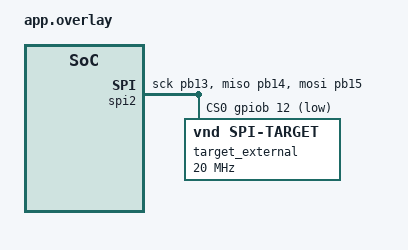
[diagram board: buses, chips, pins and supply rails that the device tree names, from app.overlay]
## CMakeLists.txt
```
# Copyright (c) 2026 John Crispin <john@phrozen.org>
#
# SPDX-License-Identifier: Apache-2.0

cmake_minimum_required(VERSION 3.20.0)

list(APPEND BOARD_ROOT ${CMAKE_CURRENT_SOURCE_DIR}/..)
list(APPEND DTS_ROOT ${CMAKE_CURRENT_SOURCE_DIR})

find_package(Zephyr REQUIRED HINTS $ENV{ZEPHYR_BASE})
project(spi_flasher)

target_sources(app PRIVATE
	src/main.c
	src/usbd.c
	src/usb_bulk.c
	src/spi_bus.c
	src/proto.c
)
```

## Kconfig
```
# Copyright (c) 2026 John Crispin <john@phrozen.org>
#
# SPDX-License-Identifier: Apache-2.0

mainmenu "SPI flasher probe"

config SPI_FLASHER_PIN_TEST
	bool "PIN_TEST opcode, reads the SPI pins as biased GPIO inputs"
	default y
	select PINCTRL_NON_STATIC
	help
	  Needed to re-apply the SPI pin configuration after probing the pins,
	  which requires the pinctrl config to be externally visible.

config SPI_FLASHER_USB_OUT_DEPTH
	int "Request buffers, which bounds how far ahead the host may queue"
	default 4

config SPI_FLASHER_USB_IN_DEPTH
	int "Reply buffers, which bounds how many replies may be in flight"
	default 4

config SPI_FLASHER_XFER_MAX
	int "Largest SPI payload accepted in one direction of one CS frame"
	default 4608

config SPI_FLASHER_USB_VID
	hex "USB vendor ID"
	default 0x2fe3

config SPI_FLASHER_USB_PID
	hex "USB product ID"
	default 0x0001

config SPI_FLASHER_USB_MANUFACTURER
	string "USB manufacturer string"
	default "spi-flasher"

config SPI_FLASHER_USB_PRODUCT
	string "USB product string"
	default "SPI flasher probe"

config SPI_FLASHER_USB_MAX_POWER
	int "USB bMaxPower in 2 mA units"
	default 125

source "Kconfig.zephyr"
```

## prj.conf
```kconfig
# Copyright (c) 2026 John Crispin <john@phrozen.org>
#
# SPDX-License-Identifier: Apache-2.0

CONFIG_USB_DEVICE_STACK_NEXT=y
CONFIG_HWINFO=y


CONFIG_SPI=y
CONFIG_SPI_STM32_DMA=y
CONFIG_GPIO=y
CONFIG_REBOOT=y

CONFIG_LOG=y
CONFIG_USBD_LOG_LEVEL_ERR=y
CONFIG_UDC_DRIVER_LOG_LEVEL_ERR=y

CONFIG_MAIN_STACK_SIZE=4096
```

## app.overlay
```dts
/*
 * Copyright (c) 2026 John Crispin <john@phrozen.org>
 *
 * SPDX-License-Identifier: Apache-2.0
 */

#include <zephyr/dt-bindings/gpio/gpio.h>
#include <zephyr/dt-bindings/dma/stm32_dma.h>

&dma1 {
	status = "okay";
};

&dmamux1 {
	status = "okay";
};

&spi2 {
	status = "okay";
	pinctrl-0 = <&spi2_sck_pb13 &spi2_miso_pb14 &spi2_mosi_pb15>;
	pinctrl-names = "default";
	cs-gpios = <&gpiob 12 GPIO_ACTIVE_LOW>;
	dmas = <&dmamux1 0 13 (STM32_DMA_PERIPH_TX | STM32_DMA_PRIORITY_HIGH)>,
	       <&dmamux1 1 12 (STM32_DMA_PERIPH_RX | STM32_DMA_PRIORITY_HIGH)>;
	dma-names = "tx", "rx";

	target_external: spi-target@0 {
		compatible = "vnd,spi-target";
		reg = <0>;
		spi-max-frequency = <DT_FREQ_M(20)>;
	};
};
```

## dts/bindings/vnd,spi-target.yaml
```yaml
# Copyright (c) 2026 John Crispin <john@phrozen.org>
#
# SPDX-License-Identifier: Apache-2.0

description: |
  Flash chip target driven by the serprog firmware. The firmware only needs the
  bus, the chip select and the default clock rate from this node; all chip
  knowledge stays on the host.

compatible: "vnd,spi-target"

include: spi-device.yaml
```

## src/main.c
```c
/*
 * Copyright (c) 2026 John Crispin <john@phrozen.org>
 *
 * SPDX-License-Identifier: Apache-2.0
 */

#include <zephyr/device.h>
#include <zephyr/drivers/gpio.h>
#include <zephyr/kernel.h>
#include <zephyr/logging/log.h>
#include <zephyr/usb/usbd.h>

#include "proto.h"
#include "spi_bus.h"
#include "usbd.h"

LOG_MODULE_REGISTER(main, CONFIG_LOG_DEFAULT_LEVEL);

#define STATUS_BLINK_PERIOD K_MSEC(250)

static const struct gpio_dt_spec status_led = GPIO_DT_SPEC_GET_OR(DT_ALIAS(led0), gpios, {0});

static bool usb_configured;

static void status_tick(struct k_timer *timer)
{
	ARG_UNUSED(timer);

	if (status_led.port == NULL) {
		return;
	}

	if (usb_configured) {
		gpio_pin_set_dt(&status_led, 1);
		return;
	}

	gpio_pin_toggle_dt(&status_led);
}

static K_TIMER_DEFINE(status_timer, status_tick, NULL);

static void status_init(void)
{
	if (status_led.port == NULL) {
		return;
	}

	if (!gpio_is_ready_dt(&status_led)) {
		LOG_WRN("Status LED not ready");
		return;
	}

	gpio_pin_configure_dt(&status_led, GPIO_OUTPUT_INACTIVE);
	k_timer_start(&status_timer, STATUS_BLINK_PERIOD, STATUS_BLINK_PERIOD);
}

static void usb_message(struct usbd_context *ctx, const struct usbd_msg *msg)
{
	ARG_UNUSED(ctx);

	switch (msg->type) {
	case USBD_MSG_CONFIGURATION:
		usb_configured = true;
		break;
	case USBD_MSG_RESET:
	case USBD_MSG_SUSPEND:
	case USBD_MSG_VBUS_REMOVED:
		usb_configured = false;
		break;
	default:
		break;
	}
}

int main(void)
{
	int err;

	status_init();

	err = spi_bus_init();
	if (err) {
		LOG_ERR("SPI bus init failed (%d)", err);
		return err;
	}

	err = usb_device_start(usb_message);
	if (err) {
		return err;
	}

	LOG_INF("bulk probe ready, default SPI clock %u Hz", spi_bus_freq_get());

	proto_run();

	return 0;
}
```

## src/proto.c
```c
/*
 * Copyright (c) 2026 John Crispin <john@phrozen.org>
 *
 * SPDX-License-Identifier: Apache-2.0
 */

#include "proto.h"

#include <string.h>

#include <soc.h>

#include <zephyr/drivers/gpio.h>
#include <zephyr/drivers/pinctrl.h>
#include <zephyr/kernel.h>
#include <zephyr/logging/log.h>
#include <zephyr/net_buf.h>
#include <zephyr/sys/byteorder.h>
#include <zephyr/sys/reboot.h>

#include "spi_bus.h"
#include "usb_bulk.h"

LOG_MODULE_REGISTER(proto, CONFIG_LOG_DEFAULT_LEVEL);

#define PROTO_PING_RSP_LEN 16

#define PROTO_SPI_NODE DT_NODELABEL(spi2)

PINCTRL_DT_DEV_CONFIG_DECLARE(PROTO_SPI_NODE);

static const struct device *const proto_gpiob = DEVICE_DT_GET(DT_NODELABEL(gpiob));
static const uint8_t proto_test_pins[] = { 12, 13, 14, 15 };
#define PROTO_PIN_TEST_RSP_LEN (2 * ARRAY_SIZE(proto_test_pins))
#define PROTO_SPI_REGS_RSP_LEN 32

static void proto_spi_pins_restore(void);

static uint8_t proto_tx_buf[CONFIG_SPI_FLASHER_XFER_MAX];
static uint8_t proto_rx_buf[CONFIG_SPI_FLASHER_XFER_MAX];
static int32_t proto_last_spi_err;

static void proto_parse(const uint8_t *raw, struct proto_request *req)
{
	req->opcode = raw[0];
	req->flags = raw[1];
	req->tag = sys_get_le16(&raw[2]);
	req->tx_len = sys_get_le32(&raw[4]);
	req->rx_len = sys_get_le32(&raw[8]);
}

static struct net_buf *proto_reply(const struct proto_request *req, uint8_t status,
				   uint32_t rx_len)
{
	struct net_buf *buf;
	uint8_t *hdr;

	buf = usb_bulk_tx_alloc(PROTO_RSP_HDR_LEN + rx_len, K_FOREVER);
	if (buf == NULL) {
		return NULL;
	}

	hdr = net_buf_add(buf, PROTO_RSP_HDR_LEN);
	hdr[0] = status;
	hdr[1] = req->opcode;
	sys_put_le16(req->tag, &hdr[2]);
	sys_put_le32(rx_len, &hdr[4]);

	return buf;
}

static void proto_fail(const struct proto_request *req, uint8_t status)
{
	struct net_buf *buf = proto_reply(req, status, 0);

	if (buf != NULL) {
		usb_bulk_tx_submit(buf);
	}
}

static void proto_handle_ping(const struct proto_request *req)
{
	struct net_buf *buf = proto_reply(req, PROTO_STATUS_OK, PROTO_PING_RSP_LEN);
	uint8_t *out;

	if (buf == NULL) {
		return;
	}

	out = net_buf_add(buf, PROTO_PING_RSP_LEN);
	sys_put_le16(PROTO_VERSION, &out[0]);
	sys_put_le32(CONFIG_SPI_FLASHER_XFER_MAX, &out[2]);
	sys_put_le32(spi_bus_freq_get(), &out[6]);
	sys_put_le32((uint32_t)proto_last_spi_err, &out[10]);
	out[14] = CONFIG_SPI_FLASHER_USB_IN_DEPTH;
	out[15] = CONFIG_SPI_FLASHER_USB_OUT_DEPTH;

	usb_bulk_tx_submit(buf);
}

static void proto_handle_test_in(const struct proto_request *req)
{
	struct net_buf *buf = proto_reply(req, PROTO_STATUS_OK, req->rx_len);
	uint8_t *out;

	if (buf == NULL) {
		return;
	}

	out = net_buf_add(buf, req->rx_len);
	for (uint32_t i = 0; i < req->rx_len; i++) {
		out[i] = (uint8_t)i;
	}

	usb_bulk_tx_submit(buf);
}

static void proto_handle_spi_xfer(const struct proto_request *req, const uint8_t *tx)
{
	struct net_buf *buf;
	uint8_t *out;
	int err;

	memcpy(proto_tx_buf, tx, req->tx_len);

	err = spi_bus_xfer(proto_tx_buf, req->tx_len, proto_rx_buf, req->rx_len);
	proto_last_spi_err = err;

	buf = proto_reply(req, err ? PROTO_STATUS_SPI_ERROR : PROTO_STATUS_OK,
			  err ? 0 : req->rx_len);
	if (buf == NULL) {
		return;
	}

	if (!err) {
		out = net_buf_add(buf, req->rx_len);
		memcpy(out, proto_rx_buf, req->rx_len);
	}

	usb_bulk_tx_submit(buf);
}

static void proto_handle_set_freq(const struct proto_request *req, const uint8_t *tx)
{
	struct net_buf *buf;
	uint32_t actual;

	if (req->tx_len != sizeof(uint32_t)) {
		proto_fail(req, PROTO_STATUS_BAD_LENGTH);
		return;
	}

	actual = spi_bus_freq_set(sys_get_le32(tx));
	if (actual == 0) {
		proto_fail(req, PROTO_STATUS_BAD_LENGTH);
		return;
	}

	buf = proto_reply(req, PROTO_STATUS_OK, sizeof(uint32_t));
	if (buf == NULL) {
		return;
	}

	sys_put_le32(actual, net_buf_add(buf, sizeof(uint32_t)));
	usb_bulk_tx_submit(buf);
}

/* Read each SPI pin as a plain input, once biased high and once biased low.
 * A line nothing is driving follows the bias and reads 1 then 0. A line held
 * by something else reads the same value both ways.
 */
static void proto_handle_pin_test(const struct proto_request *req)
{
	struct net_buf *buf = proto_reply(req, PROTO_STATUS_OK, PROTO_PIN_TEST_RSP_LEN);
	uint8_t *out;

	if (buf == NULL) {
		return;
	}

	out = net_buf_add(buf, PROTO_PIN_TEST_RSP_LEN);

	for (size_t i = 0; i < ARRAY_SIZE(proto_test_pins); i++) {
		uint8_t pin = proto_test_pins[i];

		gpio_pin_configure(proto_gpiob, pin, GPIO_INPUT | GPIO_PULL_UP);
		k_busy_wait(50);
		out[2 * i] = gpio_pin_get_raw(proto_gpiob, pin);

		gpio_pin_configure(proto_gpiob, pin, GPIO_INPUT | GPIO_PULL_DOWN);
		k_busy_wait(50);
		out[2 * i + 1] = gpio_pin_get_raw(proto_gpiob, pin);
	}

	proto_spi_pins_restore();

	usb_bulk_tx_submit(buf);
}

/* Raw peripheral state, so a wedged bus can be observed rather than inferred.
 * On this IP the overrun flag latches: once set the data register stops
 * updating and every read returns stale data until it is cleared.
 */
#define QPI_PIN_CS   12
#define QPI_PIN_SCK  13
#define QPI_PIN_IO1  14
#define QPI_PIN_IO0  15
#define QPI_ESCAPE_CLOCKS 8

/* Chip select is active low. The GPIO driver keeps that inversion per pin at
 * configure time, so restoring the pin without the flag would leave the SPI
 * driver driving chip select the wrong way round and the chip never selected.
 */
static void proto_spi_pins_restore(void)
{
	pinctrl_apply_state(PINCTRL_DT_DEV_CONFIG_GET(PROTO_SPI_NODE), PINCTRL_STATE_DEFAULT);
	gpio_pin_configure(proto_gpiob, 12, GPIO_OUTPUT_INACTIVE | GPIO_ACTIVE_LOW);
}

/* Mode 0 transfer driven entirely from GPIO, bypassing the SPI peripheral,
 * its DMA and the driver's chip select handling. Used to decide whether a
 * silent bus is the chip or everything between here and it.
 */
static void proto_handle_bitbang(const struct proto_request *req, const uint8_t *tx)
{
	struct net_buf *buf;
	uint8_t *out;

	if (req->tx_len > sizeof(proto_tx_buf) || req->rx_len > sizeof(proto_rx_buf)) {
		proto_fail(req, PROTO_STATUS_BAD_LENGTH);
		return;
	}

	memcpy(proto_tx_buf, tx, req->tx_len);

	gpio_pin_configure(proto_gpiob, QPI_PIN_CS, GPIO_OUTPUT_HIGH);
	gpio_pin_configure(proto_gpiob, QPI_PIN_SCK, GPIO_OUTPUT_LOW);
	gpio_pin_configure(proto_gpiob, QPI_PIN_IO0, GPIO_OUTPUT_LOW);
	gpio_pin_configure(proto_gpiob, QPI_PIN_IO1, GPIO_INPUT);
	k_busy_wait(10);

	gpio_pin_set_raw(proto_gpiob, QPI_PIN_CS, 0);
	k_busy_wait(5);

	for (uint32_t i = 0; i < req->tx_len + req->rx_len; i++) {
		uint8_t value = i < req->tx_len ? proto_tx_buf[i] : 0x00;
		uint8_t got = 0;

		for (int bit = 7; bit >= 0; bit--) {
			gpio_pin_set_raw(proto_gpiob, QPI_PIN_IO0, (value >> bit) & 1);
			k_busy_wait(2);
			gpio_pin_set_raw(proto_gpiob, QPI_PIN_SCK, 1);
			k_busy_wait(2);
			got = (got << 1) | gpio_pin_get_raw(proto_gpiob, QPI_PIN_IO1);
			gpio_pin_set_raw(proto_gpiob, QPI_PIN_SCK, 0);
			k_busy_wait(2);
		}

		if (i >= req->tx_len) {
			proto_rx_buf[i - req->tx_len] = got;
		}
	}

	gpio_pin_set_raw(proto_gpiob, QPI_PIN_CS, 1);
	k_busy_wait(10);
	proto_spi_pins_restore();

	buf = proto_reply(req, PROTO_STATUS_OK, req->rx_len);
	if (buf == NULL) {
		return;
	}

	out = net_buf_add(buf, req->rx_len);
	memcpy(out, proto_rx_buf, req->rx_len);
	usb_bulk_tx_submit(buf);
}

static void proto_handle_spi_regs(const struct proto_request *req)
{
	SPI_TypeDef *spi = (SPI_TypeDef *)DT_REG_ADDR(PROTO_SPI_NODE);
	struct net_buf *buf = proto_reply(req, PROTO_STATUS_OK, PROTO_SPI_REGS_RSP_LEN);
	uint8_t *out;

	if (buf == NULL) {
		return;
	}

	GPIO_TypeDef *gpiob = (GPIO_TypeDef *)DT_REG_ADDR(DT_NODELABEL(gpiob));

	out = net_buf_add(buf, PROTO_SPI_REGS_RSP_LEN);
	sys_put_le32(spi->CR1, &out[0]);
	sys_put_le32(spi->CR2, &out[4]);
	sys_put_le32(spi->SR, &out[8]);
	sys_put_le32(gpiob->MODER, &out[12]);
	sys_put_le32(gpiob->AFR[1], &out[16]);
	sys_put_le32(gpiob->PUPDR, &out[20]);
	sys_put_le32(gpiob->ODR, &out[24]);
	sys_put_le32(gpiob->IDR, &out[28]);

	usb_bulk_tx_submit(buf);
}

/* Warm reset, so boot behaviour can be exercised without touching the board. */
static void proto_handle_reboot(const struct proto_request *req)
{
	struct net_buf *buf = proto_reply(req, PROTO_STATUS_OK, 0);

	if (buf != NULL) {
		usb_bulk_tx_submit(buf);
	}

	k_sleep(K_MSEC(50));
	sys_reboot(SYS_REBOOT_WARM);
}

/* One chip-select frame, optionally preceded by a write enable, then poll a
 * status register until the chip reports ready. Collapses what would be four
 * or more USB round trips per page into one.
 *
 * Payload: flags, poll_len, poll_mask, poll_value, timeout_ms (16),
 * frame_len (16), then poll_len bytes of poll command, then the frame.
 */
static void proto_handle_xfer_poll(const struct proto_request *req, const uint8_t *tx)
{
	static const uint8_t write_enable = 0x06;
	const uint8_t *poll_cmd, *frame;
	uint8_t flags, poll_len, poll_mask, poll_value, status = 0;
	uint16_t timeout_ms, frame_len;
	struct net_buf *buf;
	int64_t deadline;
	bool ready = false;

	if (req->tx_len < PROTO_XFER_POLL_HDR_LEN) {
		proto_fail(req, PROTO_STATUS_SHORT_REQ);
		return;
	}

	flags = tx[0];
	poll_len = tx[1];
	poll_mask = tx[2];
	poll_value = tx[3];
	timeout_ms = sys_get_le16(&tx[4]);
	frame_len = sys_get_le16(&tx[6]);

	if (req->tx_len != PROTO_XFER_POLL_HDR_LEN + poll_len + frame_len || poll_len == 0) {
		proto_fail(req, PROTO_STATUS_BAD_LENGTH);
		return;
	}

	poll_cmd = &tx[PROTO_XFER_POLL_HDR_LEN];
	frame = poll_cmd + poll_len;

	memcpy(proto_tx_buf, frame, frame_len);

	if (flags & PROTO_FLAG_WRITE_ENABLE) {
		if (spi_bus_xfer(&write_enable, 1, NULL, 0) < 0) {
			proto_fail(req, PROTO_STATUS_SPI_ERROR);
			return;
		}
	}

	if (spi_bus_xfer(proto_tx_buf, frame_len, NULL, 0) < 0) {
		proto_fail(req, PROTO_STATUS_SPI_ERROR);
		return;
	}

	deadline = k_uptime_get() + timeout_ms;
	do {
		if (spi_bus_xfer(poll_cmd, poll_len, &status, 1) < 0) {
			proto_fail(req, PROTO_STATUS_SPI_ERROR);
			return;
		}
		if ((status & poll_mask) == poll_value) {
			ready = true;
			break;
		}
	} while (k_uptime_get() < deadline);

	buf = proto_reply(req, ready ? PROTO_STATUS_OK : PROTO_STATUS_TIMEOUT, 1);
	if (buf == NULL) {
		return;
	}

	*(uint8_t *)net_buf_add(buf, 1) = status;
	usb_bulk_tx_submit(buf);
}

/* Clock 0xFF on all four QPI data lines to leave QPI mode.
 *
 * A chip in QPI ignores single line commands, so the normal reset sequences
 * cannot reach it and only a power cycle clears it. This wiring brings out
 * IO0 and IO1 only; IO2 and IO3 are left to the pull ups on the breakout. It
 * therefore works only if those really are pulled high, which is why the
 * result is verified by the caller rather than assumed here.
 */

static void proto_handle_qpi_escape(const struct proto_request *req)
{
	struct net_buf *buf;

	gpio_pin_configure(proto_gpiob, QPI_PIN_CS, GPIO_OUTPUT_HIGH);
	gpio_pin_configure(proto_gpiob, QPI_PIN_SCK, GPIO_OUTPUT_LOW);
	gpio_pin_configure(proto_gpiob, QPI_PIN_IO0, GPIO_OUTPUT_HIGH);
	gpio_pin_configure(proto_gpiob, QPI_PIN_IO1, GPIO_OUTPUT_HIGH);
	k_busy_wait(10);

	gpio_pin_set_raw(proto_gpiob, QPI_PIN_CS, 0);
	k_busy_wait(2);

	for (int i = 0; i < QPI_ESCAPE_CLOCKS; i++) {
		gpio_pin_set_raw(proto_gpiob, QPI_PIN_SCK, 1);
		k_busy_wait(2);
		gpio_pin_set_raw(proto_gpiob, QPI_PIN_SCK, 0);
		k_busy_wait(2);
	}

	gpio_pin_set_raw(proto_gpiob, QPI_PIN_CS, 1);
	k_busy_wait(10);

	gpio_pin_configure(proto_gpiob, QPI_PIN_IO1, GPIO_INPUT);
	proto_spi_pins_restore();

	buf = proto_reply(req, PROTO_STATUS_OK, 0);
	if (buf != NULL) {
		usb_bulk_tx_submit(buf);
	}
}

static void proto_dispatch(struct net_buf *raw)
{
	struct proto_request req;
	const uint8_t *tx;

	if (raw->len < PROTO_REQ_HDR_LEN) {
		LOG_ERR("Runt request of %u bytes", raw->len);
		return;
	}

	proto_parse(raw->data, &req);
	tx = raw->data + PROTO_REQ_HDR_LEN;

	if (req.tx_len > CONFIG_SPI_FLASHER_XFER_MAX ||
	    req.rx_len > CONFIG_SPI_FLASHER_XFER_MAX) {
		proto_fail(&req, PROTO_STATUS_BAD_LENGTH);
		return;
	}

	if (raw->len != PROTO_REQ_HDR_LEN + req.tx_len) {
		proto_fail(&req, PROTO_STATUS_SHORT_REQ);
		return;
	}

	switch (req.opcode) {
	case PROTO_OP_PING:
		proto_handle_ping(&req);
		return;
	case PROTO_OP_SPI_XFER:
		proto_handle_spi_xfer(&req, tx);
		return;
	case PROTO_OP_TEST_IN:
		proto_handle_test_in(&req);
		return;
	case PROTO_OP_SET_FREQ:
		proto_handle_set_freq(&req, tx);
		return;
	case PROTO_OP_PIN_TEST:
		proto_handle_pin_test(&req);
		return;
	case PROTO_OP_SPI_REGS:
		proto_handle_spi_regs(&req);
		return;
	case PROTO_OP_REBOOT:
		proto_handle_reboot(&req);
		return;
	case PROTO_OP_XFER_POLL:
		proto_handle_xfer_poll(&req, tx);
		return;
	case PROTO_OP_QPI_ESCAPE:
		proto_handle_qpi_escape(&req);
		return;
	case PROTO_OP_BITBANG:
		proto_handle_bitbang(&req, tx);
		return;
	default:
		proto_fail(&req, PROTO_STATUS_BAD_OPCODE);
		return;
	}
}

void proto_run(void)
{
	while (true) {
		struct net_buf *raw = usb_bulk_rx_get(K_FOREVER);

		proto_dispatch(raw);
		usb_bulk_rx_put(raw);
	}
}
```

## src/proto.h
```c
/*
 * Copyright (c) 2026 John Crispin <john@phrozen.org>
 *
 * SPDX-License-Identifier: Apache-2.0
 */

#ifndef SPI_FLASHER_PROTO_H
#define SPI_FLASHER_PROTO_H

#include <stdint.h>

#include <zephyr/sys/util.h>

#define PROTO_VERSION 1

#define PROTO_REQ_HDR_LEN 12
#define PROTO_RSP_HDR_LEN 8

#define PROTO_OP_PING     0x00
#define PROTO_OP_SPI_XFER 0x01
#define PROTO_OP_TEST_IN  0x02
#define PROTO_OP_SET_FREQ 0x03
#define PROTO_OP_PIN_TEST 0x04
#define PROTO_OP_SPI_REGS 0x05
#define PROTO_OP_REBOOT   0x06
#define PROTO_OP_XFER_POLL 0x07
#define PROTO_OP_QPI_ESCAPE 0x08
#define PROTO_OP_BITBANG    0x09

#define PROTO_XFER_POLL_HDR_LEN 8
#define PROTO_FLAG_WRITE_ENABLE BIT(0)

#define PROTO_STATUS_OK          0x00
#define PROTO_STATUS_BAD_OPCODE  0x01
#define PROTO_STATUS_BAD_LENGTH  0x02
#define PROTO_STATUS_SHORT_REQ   0x03
#define PROTO_STATUS_SPI_ERROR   0x04
#define PROTO_STATUS_NO_RESOURCE 0x05
#define PROTO_STATUS_TIMEOUT     0x06

struct proto_request {
	uint8_t opcode;
	uint8_t flags;
	uint16_t tag;
	uint32_t tx_len;
	uint32_t rx_len;
};

void proto_run(void);

#endif
```

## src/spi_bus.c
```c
/*
 * Copyright (c) 2026 John Crispin <john@phrozen.org>
 *
 * SPDX-License-Identifier: Apache-2.0
 */

#include "spi_bus.h"

#include <zephyr/device.h>
#include <zephyr/drivers/clock_control.h>
#include <zephyr/drivers/clock_control/stm32_clock_control.h>
#include <zephyr/drivers/spi.h>
#include <zephyr/kernel.h>
#include <zephyr/logging/log.h>

LOG_MODULE_REGISTER(spi_bus, CONFIG_LOG_DEFAULT_LEVEL);

#define SPI_BUS_OPERATION (SPI_WORD_SET(8) | SPI_TRANSFER_MSB | SPI_OP_MODE_MASTER)

#define SPI_BUS_TARGET_EXTERNAL DT_NODELABEL(target_external)

#define SPI_BUS_PRESCALER_MIN_SHIFT 1
#define SPI_BUS_PRESCALER_MAX_SHIFT 8

struct spi_bus {
	const struct device *dev;
	struct spi_config config[2];
	uint8_t config_index;
	uint32_t frequency;
	spi_operation_t operation;
	uint32_t (*freq_round)(uint32_t requested);
};

static uint32_t spi_bus_external_freq_round(uint32_t requested);

#define SPI_BUS_DEFINE(node, round_fn)				\
	{							\
		.dev = DEVICE_DT_GET(DT_BUS(node)),		\
		.config = {					\
			SPI_CONFIG_DT(node, SPI_BUS_OPERATION),	\
			SPI_CONFIG_DT(node, SPI_BUS_OPERATION),	\
		},						\
		.freq_round = round_fn,				\
	}

static struct spi_bus spi_buses[SPI_BUS_COUNT] = {
	[SPI_BUS_EXTERNAL] = SPI_BUS_DEFINE(SPI_BUS_TARGET_EXTERNAL,
					    spi_bus_external_freq_round),
};

static struct spi_bus *spi_bus_active = &spi_buses[SPI_BUS_EXTERNAL];

static uint32_t spi_bus_external_freq_round(uint32_t requested)
{
	static const struct stm32_pclken pclken[] =
		STM32_DT_CLOCKS(DT_BUS(SPI_BUS_TARGET_EXTERNAL));
	const size_t index = ARRAY_SIZE(pclken) > 1 ? 1 : 0;
	uint32_t clock;
	int shift;

	if (clock_control_get_rate(DEVICE_DT_GET(STM32_CLOCK_CONTROL_NODE),
				   (clock_control_subsys_t)&pclken[index], &clock) < 0) {
		return 0;
	}

	for (shift = SPI_BUS_PRESCALER_MIN_SHIFT; shift <= SPI_BUS_PRESCALER_MAX_SHIFT; shift++) {
		if ((clock >> shift) <= requested) {
			return clock >> shift;
		}
	}

	return 0;
}

static struct spi_config *spi_bus_config(struct spi_bus *bus)
{
	struct spi_config *config = &bus->config[bus->config_index];

	if (config->frequency == bus->frequency && config->operation == bus->operation) {
		return config;
	}

	bus->config_index ^= 1;
	config = &bus->config[bus->config_index];
	config->frequency = bus->frequency;
	config->operation = bus->operation;

	return config;
}

int spi_bus_init(void)
{
	for (size_t i = 0; i < ARRAY_SIZE(spi_buses); i++) {
		struct spi_bus *bus = &spi_buses[i];

		if (!device_is_ready(bus->dev)) {
			LOG_ERR("SPI bus %u (%s) not ready", (unsigned int)i, bus->dev->name);
			return -ENODEV;
		}

		bus->frequency = bus->freq_round(bus->config[0].frequency);
		if (bus->frequency == 0) {
			LOG_ERR("SPI bus %u cannot reach %u Hz", (unsigned int)i,
				bus->config[0].frequency);
			return -EINVAL;
		}

		bus->operation = bus->config[0].operation;
	}

	return 0;
}

int spi_bus_select(uint8_t index)
{
	if (index >= ARRAY_SIZE(spi_buses)) {
		return -EINVAL;
	}

	spi_bus_active = &spi_buses[index];

	return 0;
}

uint32_t spi_bus_freq_set(uint32_t requested)
{
	struct spi_bus *bus = spi_bus_active;
	uint32_t actual;

	if (requested == 0) {
		return 0;
	}

	actual = bus->freq_round(requested);
	if (actual == 0) {
		return 0;
	}

	bus->frequency = actual;

	return actual;
}

uint32_t spi_bus_freq_get(void)
{
	return spi_bus_active->frequency;
}

int spi_bus_xfer(const uint8_t *tx, size_t tx_len, uint8_t *rx, size_t rx_len)
{
	struct spi_bus *bus = spi_bus_active;
	struct spi_buf tx_buf[2];
	struct spi_buf rx_buf[2];
	struct spi_buf_set tx_set = { .buffers = tx_buf };
	struct spi_buf_set rx_set = { .buffers = rx_buf };

	if (tx_len == 0 && rx_len == 0) {
		return 0;
	}

	if (tx_len > 0) {
		tx_buf[tx_set.count] = (struct spi_buf){ .buf = (void *)tx, .len = tx_len };
		rx_buf[rx_set.count] = (struct spi_buf){ .buf = NULL, .len = tx_len };
		tx_set.count++;
		rx_set.count++;
	}

	if (rx_len > 0) {
		tx_buf[tx_set.count] = (struct spi_buf){ .buf = NULL, .len = rx_len };
		rx_buf[rx_set.count] = (struct spi_buf){ .buf = rx, .len = rx_len };
		tx_set.count++;
		rx_set.count++;
	}

	return spi_transceive(bus->dev, spi_bus_config(bus), &tx_set,
			      rx_len > 0 ? &rx_set : NULL);
}
```

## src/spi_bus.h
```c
/*
 * Copyright (c) 2026 John Crispin <john@phrozen.org>
 *
 * SPDX-License-Identifier: Apache-2.0
 */

#ifndef SPI_FLASHER_SPI_BUS_H
#define SPI_FLASHER_SPI_BUS_H

#include <stddef.h>
#include <stdint.h>

#define SPI_BUS_EXTERNAL 0
#define SPI_BUS_COUNT    1

int spi_bus_init(void);
int spi_bus_select(uint8_t index);
uint32_t spi_bus_freq_set(uint32_t requested);
uint32_t spi_bus_freq_get(void);
int spi_bus_xfer(const uint8_t *tx, size_t tx_len, uint8_t *rx, size_t rx_len);

#endif
```

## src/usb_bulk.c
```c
/*
 * Copyright (c) 2026 John Crispin <john@phrozen.org>
 *
 * SPDX-License-Identifier: Apache-2.0
 */

#include "usb_bulk.h"
#include "proto.h"

#include <zephyr/drivers/usb/udc.h>
#include <zephyr/drivers/usb/usb_buf.h>
#include <zephyr/logging/log.h>
#include <zephyr/sys/atomic.h>
#include <zephyr/usb/usbd.h>

LOG_MODULE_REGISTER(usb_bulk, CONFIG_LOG_DEFAULT_LEVEL);

#define USB_BULK_EP_OUT 0x01
#define USB_BULK_EP_IN  0x81

#define USB_BULK_MPS_FS 64
#define USB_BULK_MPS_HS 512

#define USB_BULK_OUT_LEN (PROTO_REQ_HDR_LEN + CONFIG_SPI_FLASHER_XFER_MAX)
#define USB_BULK_IN_LEN  (PROTO_RSP_HDR_LEN + CONFIG_SPI_FLASHER_XFER_MAX)

#define USB_BULK_STATE_ENABLED 0

struct usb_bulk_desc {
	struct usb_if_descriptor if0;
	struct usb_ep_descriptor if0_out_ep;
	struct usb_ep_descriptor if0_in_ep;
	struct usb_ep_descriptor if0_hs_out_ep;
	struct usb_ep_descriptor if0_hs_in_ep;
	struct usb_desc_header nil_desc;
};

struct usb_bulk_data {
	struct usb_bulk_desc *const desc;
	const struct usb_desc_header **const fs_desc;
	const struct usb_desc_header **const hs_desc;
	struct usbd_class_data *c_data;
	atomic_t state;
};

/* A buffer is the flow control credit. Exactly OUT_DEPTH request buffers and
 * IN_DEPTH reply buffers exist, so allocation can never fail and a reply can
 * never be dropped. A request buffer is only re-armed once the handler has
 * released it, which bounds the receive backlog.
 */
UDC_BUF_POOL_DEFINE(usb_bulk_pool,
		    CONFIG_SPI_FLASHER_USB_OUT_DEPTH + CONFIG_SPI_FLASHER_USB_IN_DEPTH,
		    USB_BULK_OUT_LEN, sizeof(struct udc_buf_info), NULL);

static struct net_buf *usb_bulk_buf_alloc(uint8_t ep)
{
	struct net_buf *buf = net_buf_alloc(&usb_bulk_pool, K_NO_WAIT);
	struct udc_buf_info *bi;

	if (buf == NULL) {
		return NULL;
	}

	bi = udc_get_buf_info(buf);
	bi->ep = ep;

	return buf;
}

static K_FIFO_DEFINE(usb_bulk_rx_fifo);
static K_SEM_DEFINE(usb_bulk_tx_sem, CONFIG_SPI_FLASHER_USB_IN_DEPTH,
		    CONFIG_SPI_FLASHER_USB_IN_DEPTH);

static struct usb_bulk_desc usb_bulk_desc = {
	.if0 = {
		.bLength = sizeof(struct usb_if_descriptor),
		.bDescriptorType = USB_DESC_INTERFACE,
		.bInterfaceNumber = 0,
		.bAlternateSetting = 0,
		.bNumEndpoints = 2,
		.bInterfaceClass = USB_BCC_VENDOR,
		.bInterfaceSubClass = 0,
		.bInterfaceProtocol = 0,
		.iInterface = 0,
	},
	.if0_out_ep = {
		.bLength = sizeof(struct usb_ep_descriptor),
		.bDescriptorType = USB_DESC_ENDPOINT,
		.bEndpointAddress = USB_BULK_EP_OUT,
		.bmAttributes = USB_EP_TYPE_BULK,
		.wMaxPacketSize = sys_cpu_to_le16(USB_BULK_MPS_FS),
		.bInterval = 0,
	},
	.if0_in_ep = {
		.bLength = sizeof(struct usb_ep_descriptor),
		.bDescriptorType = USB_DESC_ENDPOINT,
		.bEndpointAddress = USB_BULK_EP_IN,
		.bmAttributes = USB_EP_TYPE_BULK,
		.wMaxPacketSize = sys_cpu_to_le16(USB_BULK_MPS_FS),
		.bInterval = 0,
	},
	.if0_hs_out_ep = {
		.bLength = sizeof(struct usb_ep_descriptor),
		.bDescriptorType = USB_DESC_ENDPOINT,
		.bEndpointAddress = USB_BULK_EP_OUT,
		.bmAttributes = USB_EP_TYPE_BULK,
		.wMaxPacketSize = sys_cpu_to_le16(USB_BULK_MPS_HS),
		.bInterval = 0,
	},
	.if0_hs_in_ep = {
		.bLength = sizeof(struct usb_ep_descriptor),
		.bDescriptorType = USB_DESC_ENDPOINT,
		.bEndpointAddress = USB_BULK_EP_IN,
		.bmAttributes = USB_EP_TYPE_BULK,
		.wMaxPacketSize = sys_cpu_to_le16(USB_BULK_MPS_HS),
		.bInterval = 0,
	},
	.nil_desc = {
		.bLength = 0,
		.bDescriptorType = 0,
	},
};

static const struct usb_desc_header *usb_bulk_fs_desc[] = {
	(struct usb_desc_header *)&usb_bulk_desc.if0,
	(struct usb_desc_header *)&usb_bulk_desc.if0_out_ep,
	(struct usb_desc_header *)&usb_bulk_desc.if0_in_ep,
	(struct usb_desc_header *)&usb_bulk_desc.nil_desc,
};

static const struct usb_desc_header *usb_bulk_hs_desc[] = {
	(struct usb_desc_header *)&usb_bulk_desc.if0,
	(struct usb_desc_header *)&usb_bulk_desc.if0_hs_out_ep,
	(struct usb_desc_header *)&usb_bulk_desc.if0_hs_in_ep,
	(struct usb_desc_header *)&usb_bulk_desc.nil_desc,
};

static struct usb_bulk_data usb_bulk_data = {
	.desc = &usb_bulk_desc,
	.fs_desc = usb_bulk_fs_desc,
	.hs_desc = usb_bulk_hs_desc,
};

static int usb_bulk_submit_out(struct usbd_class_data *const c_data)
{
	struct usb_bulk_data *data = usbd_class_get_private(c_data);
	struct net_buf *buf;
	int err;

	if (!atomic_test_bit(&data->state, USB_BULK_STATE_ENABLED)) {
		return -EPERM;
	}

	buf = usb_bulk_buf_alloc(USB_BULK_EP_OUT);
	if (buf == NULL) {
		LOG_ERR("No buffer for bulk OUT");
		return -ENOMEM;
	}

	err = usbd_ep_enqueue(c_data, buf);
	if (err) {
		LOG_ERR("Failed to enqueue bulk OUT (%d)", err);
		net_buf_unref(buf);
	}

	return err;
}

static int usb_bulk_request(struct usbd_class_data *const c_data,
			    struct net_buf *const buf, const int err)
{
	struct udc_buf_info *bi = (struct udc_buf_info *)net_buf_user_data(buf);

	if (bi->ep == USB_BULK_EP_IN) {
		net_buf_unref(buf);
		k_sem_give(&usb_bulk_tx_sem);
		return 0;
	}

	if (err) {
		net_buf_unref(buf);
		if (err != -ECONNABORTED) {
			usb_bulk_submit_out(c_data);
		}
		return 0;
	}

	k_fifo_put(&usb_bulk_rx_fifo, buf);

	return 0;
}

static void *usb_bulk_get_desc(struct usbd_class_data *const c_data,
			       const enum usbd_speed speed)
{
	struct usb_bulk_data *data = usbd_class_get_private(c_data);

	if (USBD_SUPPORTS_HIGH_SPEED && speed == USBD_SPEED_HS) {
		return data->hs_desc;
	}

	return data->fs_desc;
}

static void usb_bulk_enable(struct usbd_class_data *const c_data)
{
	struct usb_bulk_data *data = usbd_class_get_private(c_data);

	if (atomic_test_and_set_bit(&data->state, USB_BULK_STATE_ENABLED)) {
		return;
	}

	for (int i = 0; i < CONFIG_SPI_FLASHER_USB_OUT_DEPTH; i++) {
		if (usb_bulk_submit_out(c_data)) {
			break;
		}
	}

	LOG_INF("Bulk interface enabled");
}

static void usb_bulk_disable(struct usbd_class_data *const c_data)
{
	struct usb_bulk_data *data = usbd_class_get_private(c_data);

	atomic_clear_bit(&data->state, USB_BULK_STATE_ENABLED);
	LOG_INF("Bulk interface disabled");
}

static int usb_bulk_class_init(struct usbd_class_data *const c_data)
{
	struct usb_bulk_data *data = usbd_class_get_private(c_data);

	data->c_data = c_data;

	return 0;
}

struct usbd_class_api usb_bulk_api = {
	.request = usb_bulk_request,
	.get_desc = usb_bulk_get_desc,
	.enable = usb_bulk_enable,
	.disable = usb_bulk_disable,
	.init = usb_bulk_class_init,
};

USBD_DEFINE_CLASS(spi_flasher_bulk, &usb_bulk_api, &usb_bulk_data, NULL);

struct net_buf *usb_bulk_rx_get(k_timeout_t timeout)
{
	return k_fifo_get(&usb_bulk_rx_fifo, timeout);
}

void usb_bulk_rx_put(struct net_buf *buf)
{
	net_buf_unref(buf);
	usb_bulk_submit_out(usb_bulk_data.c_data);
}

struct net_buf *usb_bulk_tx_alloc(size_t len, k_timeout_t timeout)
{
	struct usbd_class_data *c_data = usb_bulk_data.c_data;
	struct net_buf *buf;

	if (c_data == NULL || len > USB_BULK_IN_LEN) {
		return NULL;
	}

	if (k_sem_take(&usb_bulk_tx_sem, timeout)) {
		return NULL;
	}

	buf = usb_bulk_buf_alloc(USB_BULK_EP_IN);
	if (buf == NULL) {
		k_sem_give(&usb_bulk_tx_sem);
		return NULL;
	}

	return buf;
}

int usb_bulk_tx_submit(struct net_buf *buf)
{
	int err;

	err = usbd_ep_enqueue(usb_bulk_data.c_data, buf);
	if (err) {
		LOG_ERR("Failed to enqueue bulk IN (%d)", err);
		net_buf_unref(buf);
		k_sem_give(&usb_bulk_tx_sem);
	}

	return err;
}
```

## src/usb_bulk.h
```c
/*
 * Copyright (c) 2026 John Crispin <john@phrozen.org>
 *
 * SPDX-License-Identifier: Apache-2.0
 */

#ifndef SPI_FLASHER_USB_BULK_H
#define SPI_FLASHER_USB_BULK_H

#include <stddef.h>

#include <zephyr/kernel.h>
#include <zephyr/net_buf.h>

struct net_buf *usb_bulk_rx_get(k_timeout_t timeout);
void usb_bulk_rx_put(struct net_buf *buf);

struct net_buf *usb_bulk_tx_alloc(size_t len, k_timeout_t timeout);
int usb_bulk_tx_submit(struct net_buf *buf);

#endif
```

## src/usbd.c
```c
/*
 * Copyright (c) 2026 John Crispin <john@phrozen.org>
 *
 * SPDX-License-Identifier: Apache-2.0
 */

#include "usbd.h"

#include <zephyr/device.h>
#include <zephyr/logging/log.h>
#include <zephyr/usb/usbd.h>

LOG_MODULE_REGISTER(usb_device, CONFIG_LOG_DEFAULT_LEVEL);

USBD_DEVICE_DEFINE(spi_flasher_usbd,
		   DEVICE_DT_GET(DT_NODELABEL(zephyr_udc0)),
		   CONFIG_SPI_FLASHER_USB_VID, CONFIG_SPI_FLASHER_USB_PID);

USBD_DESC_LANG_DEFINE(spi_flasher_lang);
USBD_DESC_MANUFACTURER_DEFINE(spi_flasher_mfr, CONFIG_SPI_FLASHER_USB_MANUFACTURER);
USBD_DESC_PRODUCT_DEFINE(spi_flasher_product, CONFIG_SPI_FLASHER_USB_PRODUCT);
USBD_DESC_SERIAL_NUMBER_DEFINE(spi_flasher_sn);
USBD_DESC_CONFIG_DEFINE(spi_flasher_fs_desc, "Full speed configuration");

USBD_CONFIGURATION_DEFINE(spi_flasher_fs_config, 0,
			  CONFIG_SPI_FLASHER_USB_MAX_POWER, &spi_flasher_fs_desc);

static const char *const spi_flasher_blocklist[] = {
	"dfu_dfu",
	NULL,
};

int usb_device_start(usbd_msg_cb_t msg_cb)
{
	int err;

	err = usbd_add_descriptor(&spi_flasher_usbd, &spi_flasher_lang);
	if (err) {
		LOG_ERR("Failed to add language descriptor (%d)", err);
		return err;
	}

	err = usbd_add_descriptor(&spi_flasher_usbd, &spi_flasher_mfr);
	if (err) {
		LOG_ERR("Failed to add manufacturer descriptor (%d)", err);
		return err;
	}

	err = usbd_add_descriptor(&spi_flasher_usbd, &spi_flasher_product);
	if (err) {
		LOG_ERR("Failed to add product descriptor (%d)", err);
		return err;
	}

	err = usbd_add_descriptor(&spi_flasher_usbd, &spi_flasher_sn);
	if (err) {
		LOG_ERR("Failed to add serial number descriptor (%d)", err);
		return err;
	}

	err = usbd_add_configuration(&spi_flasher_usbd, USBD_SPEED_FS,
				     &spi_flasher_fs_config);
	if (err) {
		LOG_ERR("Failed to add full speed configuration (%d)", err);
		return err;
	}

	err = usbd_register_all_classes(&spi_flasher_usbd, USBD_SPEED_FS, 1,
					spi_flasher_blocklist);
	if (err) {
		LOG_ERR("Failed to register classes (%d)", err);
		return err;
	}

	usbd_device_set_code_triple(&spi_flasher_usbd, USBD_SPEED_FS, 0, 0, 0);

	if (msg_cb != NULL) {
		err = usbd_msg_register_cb(&spi_flasher_usbd, msg_cb);
		if (err) {
			LOG_ERR("Failed to register message callback (%d)", err);
			return err;
		}
	}

	err = usbd_init(&spi_flasher_usbd);
	if (err) {
		LOG_ERR("Failed to initialise device support (%d)", err);
		return err;
	}

	err = usbd_enable(&spi_flasher_usbd);
	if (err) {
		LOG_ERR("Failed to enable device support (%d)", err);
		return err;
	}

	return 0;
}
```

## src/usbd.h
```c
/*
 * Copyright (c) 2026 John Crispin <john@phrozen.org>
 *
 * SPDX-License-Identifier: Apache-2.0
 */

#ifndef SPI_FLASHER_USBD_H
#define SPI_FLASHER_USBD_H

#include <zephyr/usb/usbd.h>

int usb_device_start(usbd_msg_cb_t msg_cb);

#endif
```
